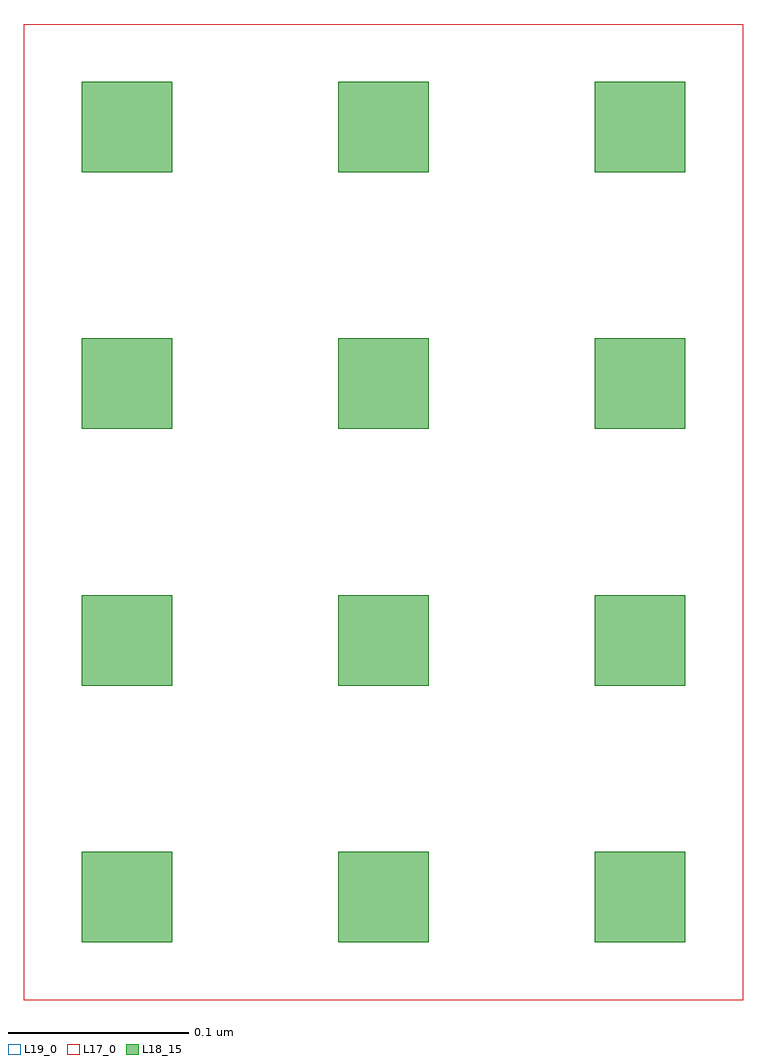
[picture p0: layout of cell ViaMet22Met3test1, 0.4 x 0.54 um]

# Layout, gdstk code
import gdstk
lib = gdstk.Library(unit=1e-6, precision=1e-09)
def R(c, l, rs):  # rectangles x0, y0, x1, y1
    for r in rs: c.add(gdstk.rectangle(r[:2], r[2:], *l))
def A(c, l, x, y, w, h, nx, ny, dx, dy):  # array of equal rectangles
    R(c, l, [(x+i*dx, y+j*dy, x+i*dx+w, y+j*dy+h) for i in range(nx) for j in range(ny)])
L17_0 = (17, 0)
L18_15 = (18, 15)
L19_0 = (19, 0)

viamet22met3test1 = lib.new_cell('ViaMet22Met3test1')
R(viamet22met3test1, L17_0, [(-0.199,-0.27,0.199,0.27)])
A(viamet22met3test1, L18_15, -0.167, -0.238, 0.05, 0.05, 3, 4, 0.142, 0.142)
R(viamet22met3test1, L19_0, [(-0.199,-0.27,0.199,0.27)])

lib.write_gds('ViaMet22Met3test1.gds')
